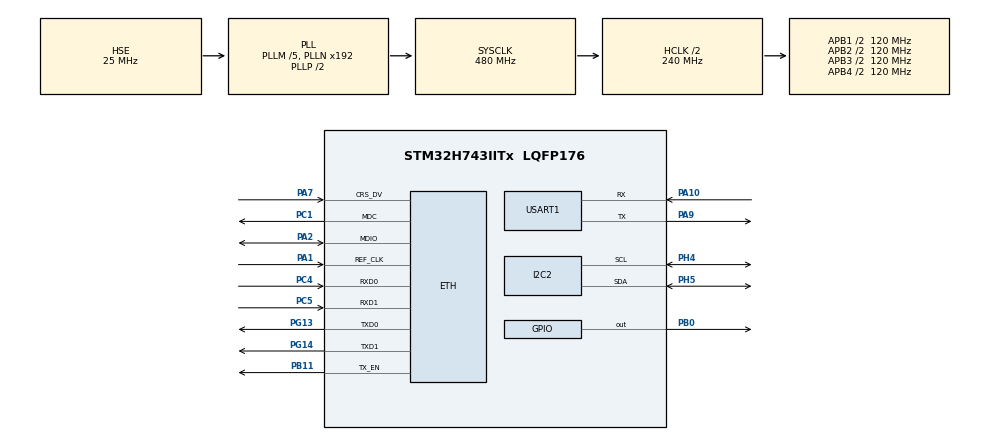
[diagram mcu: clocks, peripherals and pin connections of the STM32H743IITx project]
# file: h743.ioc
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CORTEX_M7.CPU_DCache=Enabled
ETH.MACAddr=00\:80\:E1\:00\:00\:05
ETH.MediaInterface=HAL_ETH_RMII_MODE
FREERTOS.HEAP_NUMBER=4
FREERTOS.Tasks01=defaultTask,24,8192,StartDefaultTask,Default,NULL,Dynamic,NULL,NULL;fortetask,8,2048,forte_thread,Default,NULL,Dynamic,NULL,NULL
FREERTOS.configCHECK_FOR_STACK_OVERFLOW=1
FREERTOS.configTIMER_QUEUE_LENGTH=32
FREERTOS.configTIMER_TASK_STACK_DEPTH=2048
FREERTOS.configTOTAL_HEAP_SIZE=69632
FREERTOS.configUSE_MALLOC_FAILED_HOOK=1
I2C2.Timing=0x307075B1
LWIP.BSP.number=1
LWIP.DHCP_DEBUG=LWIP_DBG_ON
LWIP.GATEWAY_ADDRESS=192.168.003.001
LWIP.IP_ADDRESS=192.168.003.007
LWIP.LWIP_DHCP=1
LWIP.LWIP_DNS=1
LWIP.NETIF_DEBUG=LWIP_DBG_ON
LWIP.NETMASK_ADDRESS=255.255.255.000
LWIP.Version=v2.1.2_Cube
LWIP0.BSP.STBoard=false
LWIP0.BSP.api=BSP_COMPONENT_DRIVER
LWIP0.BSP.component=LAN8742
LWIP0.BSP.i2caddr=0
LWIP0.BSP.instance=LAN8742
LWIP0.BSP.name=Driver_PHY
LWIP0.BSP.solution=LAN8742
Mcu.Family=STM32H7
Mcu.Name=STM32H743IITx
Mcu.Package=LQFP176
NVIC.ETH_IRQn=true\:5\:0\:false\:false\:true\:true\:true\:true
NVIC.PriorityGroup=NVIC_PRIORITYGROUP_4
NVIC.TIM1_UP_IRQn=true\:0\:0\:false\:false\:true\:false\:false\:true
NVIC.TimeBase=TIM1_UP_IRQn
NVIC.TimeBaseIP=TIM1
PA1.GPIO_Speed=GPIO_SPEED_FREQ_VERY_HIGH
PA1.Mode=RMII
PA1.Signal=ETH_REF_CLK
PA10.Mode=Asynchronous
PA10.Signal=USART1_RX
PA13\ (JTMS/SWDIO).Mode=Serial_Wire
PA13\ (JTMS/SWDIO).Signal=DEBUG_JTMS-SWDIO
PA14\ (JTCK/SWCLK).Mode=Serial_Wire
PA14\ (JTCK/SWCLK).Signal=DEBUG_JTCK-SWCLK
PA2.GPIO_Speed=GPIO_SPEED_FREQ_VERY_HIGH
PA2.Mode=RMII
PA2.Signal=ETH_MDIO
PA7.GPIO_Speed=GPIO_SPEED_FREQ_VERY_HIGH
PA7.Mode=RMII
PA7.Signal=ETH_CRS_DV
PA9.Mode=Asynchronous
PA9.Signal=USART1_TX
PB0.GPIO_PuPd=GPIO_PULLUP
PB0.GPIO_Speed=GPIO_SPEED_FREQ_HIGH
PB0.PinState=GPIO_PIN_SET
PB0.Signal=GPIO_Output
PB11.GPIO_Speed=GPIO_SPEED_FREQ_VERY_HIGH
PB11.Mode=RMII
PB11.Signal=ETH_TX_EN
PC1.GPIO_Speed=GPIO_SPEED_FREQ_VERY_HIGH
PC1.Mode=RMII
PC1.Signal=ETH_MDC
PC14-OSC32_IN\ (OSC32_IN).Mode=LSE-External-Oscillator
PC14-OSC32_IN\ (OSC32_IN).Signal=RCC_OSC32_IN
PC15-OSC32_OUT\ (OSC32_OUT).Mode=LSE-External-Oscillator
PC15-OSC32_OUT\ (OSC32_OUT).Signal=RCC_OSC32_OUT
PC4.GPIO_Speed=GPIO_SPEED_FREQ_VERY_HIGH
PC4.Mode=RMII
PC4.Signal=ETH_RXD0
PC5.GPIO_Speed=GPIO_SPEED_FREQ_VERY_HIGH
PC5.Mode=RMII
PC5.Signal=ETH_RXD1
PG13.GPIO_Speed=GPIO_SPEED_FREQ_VERY_HIGH
PG13.Mode=RMII
PG13.Signal=ETH_TXD0
PG14.GPIO_Speed=GPIO_SPEED_FREQ_VERY_HIGH
PG14.Mode=RMII
PG14.Signal=ETH_TXD1
PH0-OSC_IN\ (PH0).Mode=HSE-External-Oscillator
PH0-OSC_IN\ (PH0).Signal=RCC_OSC_IN
PH1-OSC_OUT\ (PH1).Mode=HSE-External-Oscillator
PH1-OSC_OUT\ (PH1).Signal=RCC_OSC_OUT
PH4.Mode=I2C
PH4.Signal=I2C2_SCL
PH5.Mode=I2C
PH5.Signal=I2C2_SDA
ProjectManager.HeapSize=0x2000
ProjectManager.StackSize=0x4000
ProjectManager.TargetToolchain=TrueSTUDIO
RCC.ADCFreq_Value=240000000
RCC.APB1Freq_Value=120000000
RCC.APB2Freq_Value=120000000
RCC.APB3Freq_Value=120000000
RCC.APB4Freq_Value=120000000
RCC.CortexFreq_Value=480000000
RCC.D1PPRE=RCC_APB3_DIV2
RCC.D2PPRE1=RCC_APB1_DIV2
RCC.D2PPRE2=RCC_APB2_DIV2
RCC.D3PPRE=RCC_APB4_DIV2
RCC.DIVM1=5
RCC.DIVM2=5
RCC.DIVM3=5
RCC.DIVN1=192
RCC.DIVN2=96
RCC.DIVN3=192
RCC.HCLKFreq_Value=240000000
RCC.HPRE=RCC_HCLK_DIV2
RCC.PLLSourceVirtual=RCC_PLLSOURCE_HSE
RCC.SYSCLKFreq_VALUE=480000000
RCC.SYSCLKSource=RCC_SYSCLKSOURCE_PLLCLK
RCC.USBFreq_Value=480000000
USART1.VirtualMode-Asynchronous=VM_ASYNC
VP_FREERTOS_VS_CMSIS_V2.Mode=CMSIS_V2
VP_LWIP_VS_Enabled.Mode=Enabled
VP_SYS_VS_tim1.Mode=TIM1
board=custom

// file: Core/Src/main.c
/* USER CODE BEGIN Header */
/**
  ******************************************************************************
  * @file           : main.c
  * @brief          : Main program body
  ******************************************************************************
  * @attention
  *
  * <h2><center>&copy; Copyright (c) 2021 STMicroelectronics.
  * All rights reserved.</center></h2>
  *
  * This software component is licensed by ST under Ultimate Liberty license
  * SLA0044, the "License"; You may not use this file except in compliance with
  * the License. You may obtain a copy of the License at:
  *                             www.st.com/SLA0044
  *
  ******************************************************************************
  */
/* USER CODE END Header */
#include "main.h"
#include "cmsis_os.h"
#include "lwip.h"

/* USER CODE BEGIN Includes */
#include "pcf8574.h"
#include "forte_Init.h"
/* USER CODE END Includes */

I2C_HandleTypeDef hi2c2;

UART_HandleTypeDef huart1;

/* Definitions for defaultTask */
osThreadId_t defaultTaskHandle;
const osThreadAttr_t defaultTask_attributes = {
  .name = "defaultTask",
  .stack_size = 8192 * 4,
  .priority = (osPriority_t) osPriorityNormal,
};
/* Definitions for fortetask */
osThreadId_t fortetaskHandle;
const osThreadAttr_t fortetask_attributes = {
  .name = "fortetask",
  .stack_size = 2048 * 4,
  .priority = (osPriority_t) osPriorityLow,
};

void SystemClock_Config(void);
static void MX_GPIO_Init(void);
static void MX_I2C2_Init(void);
static void MX_USART1_UART_Init(void);
void StartDefaultTask(void *argument);
void forte_thread(void *argument);

/* USER CODE BEGIN PFP */

static void MPU_Config(void);

/* USER CODE END PFP */

/* USER CODE BEGIN 0 */
#ifdef __GNUC__
#define PUTCHAR_PROTOTYPE int __io_putchar(int ch)
#else
#define PUTCHAR_PROTOTYPE int fputc(int ch, FILE *f)
#endif
PUTCHAR_PROTOTYPE
{
    //HAL_UART_Transmit(&huart1 , (uint8_t *)&ch, 1 , 0xffff);
	while ((USART1->ISR & 0X40) == 0);
    USART1->TDR = (uint8_t) ch;
    return ch;
}

/* USER CODE END 0 */

int main(void)
{
  /* USER CODE BEGIN 1 */
  MPU_Config();

  /* USER CODE END 1 */

  /* Enable D-Cache---------------------------------------------------------*/
  SCB_EnableDCache();

  /* MCU Configuration--------------------------------------------------------*/

  /* Reset of all peripherals, Initializes the Flash interface and the Systick. */
  HAL_Init();

  /* Configure the system clock */
  SystemClock_Config();

  /* Initialize all configured peripherals */
  MX_GPIO_Init();
  MX_I2C2_Init();
  MX_USART1_UART_Init();
  /* USER CODE BEGIN 2 */
  PCF8574_Init();
  printf("ETH test\r\n");

  /* USER CODE END 2 */

  /* Init scheduler */
  osKernelInitialize();

  /* Create the thread(s) */
  /* creation of defaultTask */
  defaultTaskHandle = osThreadNew(StartDefaultTask, NULL, &defaultTask_attributes);

  /* creation of fortetask */
  fortetaskHandle = osThreadNew(forte_thread, NULL, &fortetask_attributes);

  /* Start scheduler */
  osKernelStart();

  /* We should never get here as control is now taken by the scheduler */
  /* Infinite loop */
  while (1)
  {

  }
}

void SystemClock_Config(void)
{
  RCC_OscInitTypeDef RCC_OscInitStruct = {0};
  RCC_ClkInitTypeDef RCC_ClkInitStruct = {0};

  /** Supply configuration update enable
  */
  HAL_PWREx_ConfigSupply(PWR_LDO_SUPPLY);
  /** Configure the main internal regulator output voltage
  */
  __HAL_PWR_VOLTAGESCALING_CONFIG(PWR_REGULATOR_VOLTAGE_SCALE0);

  while(!__HAL_PWR_GET_FLAG(PWR_FLAG_VOSRDY)) {}
  /** Initializes the RCC Oscillators according to the specified parameters
  * in the RCC_OscInitTypeDef structure.
  */
  RCC_OscInitStruct.OscillatorType = RCC_OSCILLATORTYPE_HSE;
  RCC_OscInitStruct.HSEState = RCC_HSE_ON;
  RCC_OscInitStruct.PLL.PLLState = RCC_PLL_ON;
  RCC_OscInitStruct.PLL.PLLSource = RCC_PLLSOURCE_HSE;
  RCC_OscInitStruct.PLL.PLLM = 5;
  RCC_OscInitStruct.PLL.PLLN = 192;
  RCC_OscInitStruct.PLL.PLLP = 2;
  RCC_OscInitStruct.PLL.PLLQ = 2;
  RCC_OscInitStruct.PLL.PLLR = 2;
  RCC_OscInitStruct.PLL.PLLRGE = RCC_PLL1VCIRANGE_2;
  RCC_OscInitStruct.PLL.PLLVCOSEL = RCC_PLL1VCOWIDE;
  RCC_OscInitStruct.PLL.PLLFRACN = 0;
  if (HAL_RCC_OscConfig(&RCC_OscInitStruct) != HAL_OK)
  {
    Error_Handler();
  }
  /** Initializes the CPU, AHB and APB buses clocks
  */
  RCC_ClkInitStruct.ClockType = RCC_CLOCKTYPE_HCLK|RCC_CLOCKTYPE_SYSCLK
                              |RCC_CLOCKTYPE_PCLK1|RCC_CLOCKTYPE_PCLK2
                              |RCC_CLOCKTYPE_D3PCLK1|RCC_CLOCKTYPE_D1PCLK1;
  RCC_ClkInitStruct.SYSCLKSource = RCC_SYSCLKSOURCE_PLLCLK;
  RCC_ClkInitStruct.SYSCLKDivider = RCC_SYSCLK_DIV1;
  RCC_ClkInitStruct.AHBCLKDivider = RCC_HCLK_DIV2;
  RCC_ClkInitStruct.APB3CLKDivider = RCC_APB3_DIV2;
  RCC_ClkInitStruct.APB1CLKDivider = RCC_APB1_DIV2;
  RCC_ClkInitStruct.APB2CLKDivider = RCC_APB2_DIV2;
  RCC_ClkInitStruct.APB4CLKDivider = RCC_APB4_DIV2;

  if (HAL_RCC_ClockConfig(&RCC_ClkInitStruct, FLASH_LATENCY_4) != HAL_OK)
  {
    Error_Handler();
  }
}

static void MX_I2C2_Init(void)
{

  hi2c2.Instance = I2C2;
  hi2c2.Init.Timing = 0x307075B1;
  hi2c2.Init.OwnAddress1 = 0;
  hi2c2.Init.AddressingMode = I2C_ADDRESSINGMODE_7BIT;
  hi2c2.Init.DualAddressMode = I2C_DUALADDRESS_DISABLE;
  hi2c2.Init.OwnAddress2 = 0;
  hi2c2.Init.OwnAddress2Masks = I2C_OA2_NOMASK;
  hi2c2.Init.GeneralCallMode = I2C_GENERALCALL_DISABLE;
  hi2c2.Init.NoStretchMode = I2C_NOSTRETCH_DISABLE;
  if (HAL_I2C_Init(&hi2c2) != HAL_OK)
  {
    Error_Handler();
  }
  /** Configure Analogue filter
  */
  if (HAL_I2CEx_ConfigAnalogFilter(&hi2c2, I2C_ANALOGFILTER_ENABLE) != HAL_OK)
  {
    Error_Handler();
  }
  /** Configure Digital filter
  */
  if (HAL_I2CEx_ConfigDigitalFilter(&hi2c2, 0) != HAL_OK)
  {
    Error_Handler();
  }

}

static void MX_USART1_UART_Init(void)
{

  huart1.Instance = USART1;
  huart1.Init.BaudRate = 115200;
  huart1.Init.WordLength = UART_WORDLENGTH_8B;
  huart1.Init.StopBits = UART_STOPBITS_1;
  huart1.Init.Parity = UART_PARITY_NONE;
  huart1.Init.Mode = UART_MODE_TX_RX;
  huart1.Init.HwFlowCtl = UART_HWCONTROL_NONE;
  huart1.Init.OverSampling = UART_OVERSAMPLING_16;
  huart1.Init.OneBitSampling = UART_ONE_BIT_SAMPLE_DISABLE;
  huart1.Init.ClockPrescaler = UART_PRESCALER_DIV1;
  huart1.AdvancedInit.AdvFeatureInit = UART_ADVFEATURE_NO_INIT;
  if (HAL_UART_Init(&huart1) != HAL_OK)
  {
    Error_Handler();
  }
  if (HAL_UARTEx_SetTxFifoThreshold(&huart1, UART_TXFIFO_THRESHOLD_1_8) != HAL_OK)
  {
    Error_Handler();
  }
  if (HAL_UARTEx_SetRxFifoThreshold(&huart1, UART_RXFIFO_THRESHOLD_1_8) != HAL_OK)
  {
    Error_Handler();
  }
  if (HAL_UARTEx_DisableFifoMode(&huart1) != HAL_OK)
  {
    Error_Handler();
  }

}

static void MX_GPIO_Init(void)
{
  GPIO_InitTypeDef GPIO_InitStruct = {0};

  /* GPIO Ports Clock Enable */
  __HAL_RCC_GPIOC_CLK_ENABLE();
  __HAL_RCC_GPIOH_CLK_ENABLE();
  __HAL_RCC_GPIOA_CLK_ENABLE();
  __HAL_RCC_GPIOB_CLK_ENABLE();
  __HAL_RCC_GPIOG_CLK_ENABLE();

  /*Configure GPIO pin Output Level */
  HAL_GPIO_WritePin(GPIOB, GPIO_PIN_0, GPIO_PIN_SET);

  /*Configure GPIO pin : PB0 */
  GPIO_InitStruct.Pin = GPIO_PIN_0;
  GPIO_InitStruct.Mode = GPIO_MODE_OUTPUT_PP;
  GPIO_InitStruct.Pull = GPIO_PULLUP;
  GPIO_InitStruct.Speed = GPIO_SPEED_FREQ_HIGH;
  HAL_GPIO_Init(GPIOB, &GPIO_InitStruct);

}

/* USER CODE BEGIN 4 */
/**
  * @brief  Configure the MPU attributes
  * @param  None
  * @retval None
  */
static void MPU_Config(void)
{
  MPU_Region_InitTypeDef MPU_InitStruct;

  /* Disable the MPU */
  HAL_MPU_Disable();

  /* Configure the MPU attributes as Device not cacheable
     for ETH DMA descriptors */
  MPU_InitStruct.Enable = MPU_REGION_ENABLE;
  MPU_InitStruct.BaseAddress = 0x30040000;
  MPU_InitStruct.Size = MPU_REGION_SIZE_256B;
  MPU_InitStruct.AccessPermission = MPU_REGION_FULL_ACCESS;
  MPU_InitStruct.IsBufferable = MPU_ACCESS_BUFFERABLE;
  MPU_InitStruct.IsCacheable = MPU_ACCESS_NOT_CACHEABLE;
  MPU_InitStruct.IsShareable = MPU_ACCESS_NOT_SHAREABLE;
  MPU_InitStruct.Number = MPU_REGION_NUMBER0;
  MPU_InitStruct.TypeExtField = MPU_TEX_LEVEL0;
  MPU_InitStruct.SubRegionDisable = 0x00;
  MPU_InitStruct.DisableExec = MPU_INSTRUCTION_ACCESS_ENABLE;

  HAL_MPU_ConfigRegion(&MPU_InitStruct);

  /* Configure the MPU attributes as Cacheable write through
     for LwIP RAM heap which contains the Tx buffers */
  MPU_InitStruct.Enable = MPU_REGION_ENABLE;
  MPU_InitStruct.BaseAddress = 0x30044000;
  MPU_InitStruct.Size = MPU_REGION_SIZE_16KB;
  MPU_InitStruct.AccessPermission = MPU_REGION_FULL_ACCESS;
  MPU_InitStruct.IsBufferable = MPU_ACCESS_NOT_BUFFERABLE;
  MPU_InitStruct.IsCacheable = MPU_ACCESS_CACHEABLE;
  MPU_InitStruct.IsShareable = MPU_ACCESS_NOT_SHAREABLE;
  MPU_InitStruct.Number = MPU_REGION_NUMBER1;
  MPU_InitStruct.TypeExtField = MPU_TEX_LEVEL0;
  MPU_InitStruct.SubRegionDisable = 0x00;
  MPU_InitStruct.DisableExec = MPU_INSTRUCTION_ACCESS_ENABLE;

  HAL_MPU_ConfigRegion(&MPU_InitStruct);

  /* Enable the MPU */
  HAL_MPU_Enable(MPU_PRIVILEGED_DEFAULT);
}

/* USER CODE END 4 */

void StartDefaultTask(void *argument)
{
  /* init code for LWIP */
  MX_LWIP_Init();
  for(;;)
  {
    osDelay(1);
  }
}

void forte_thread(void *argument)
{
  /* USER CODE BEGIN forte_thread */
  forteGlobalInitialize();
  TForteInstance forteInstance = 0;
  int resultForte = forteStartInstanceGeneric(0, 0, &forteInstance);
  if(FORTE_OK == resultForte){
	  forteJoinInstance(forteInstance);
  }else{
	  printf("Error %d: Couldn't start forte\n", resultForte);
  }
  forteGlobalDeinitialize();
  vTaskDelete(NULL);
  /* Infinite loop */
  for(;;)
  {
    osDelay(1);
  }
  /* USER CODE END forte_thread */
}

 /**
  * @brief  Period elapsed callback in non blocking mode
  * @note   This function is called  when TIM1 interrupt took place, inside
  * HAL_TIM_IRQHandler(). It makes a direct call to HAL_IncTick() to increment
  * a global variable "uwTick" used as application time base.
  * @param  htim : TIM handle
  * @retval None
  */
void HAL_TIM_PeriodElapsedCallback(TIM_HandleTypeDef *htim)
{
  if (htim->Instance == TIM1) {
    HAL_IncTick();
  }
}

void Error_Handler(void)
{
  __disable_irq();
  while (1)
  {
  }
}

/************************ (C) COPYRIGHT STMicroelectronics *****END OF FILE****/

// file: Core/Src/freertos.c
/* USER CODE BEGIN Header */
/**
  ******************************************************************************
  * File Name          : freertos.c
  * Description        : Code for freertos applications
  ******************************************************************************
  * @attention
  *
  * <h2><center>&copy; Copyright (c) 2021 STMicroelectronics.
  * All rights reserved.</center></h2>
  *
  * This software component is licensed by ST under Ultimate Liberty license
  * SLA0044, the "License"; You may not use this file except in compliance with
  * the License. You may obtain a copy of the License at:
  *                             www.st.com/SLA0044
  *
  ******************************************************************************
  */
/* USER CODE END Header */

#include "FreeRTOS.h"
#include "task.h"
#include "main.h"

/* Hook prototypes */
void vApplicationStackOverflowHook(xTaskHandle xTask, signed char *pcTaskName);
void vApplicationMallocFailedHook(void);

/* USER CODE BEGIN 4 */
void vApplicationStackOverflowHook(xTaskHandle xTask, signed char *pcTaskName)
{
   /* Run time stack overflow checking is performed if
   configCHECK_FOR_STACK_OVERFLOW is defined to 1 or 2. This hook function is
   called if a stack overflow is detected. */
	for(;;){
		vTaskDelay(pdMS_TO_TICKS(1000));
	}
}
/* USER CODE END 4 */

/* USER CODE BEGIN 5 */
void vApplicationMallocFailedHook(void)
{
   /* vApplicationMallocFailedHook() will only be called if
   configUSE_MALLOC_FAILED_HOOK is set to 1 in FreeRTOSConfig.h. It is a hook
   function that will get called if a call to pvPortMalloc() fails.
   pvPortMalloc() is called internally by the kernel whenever a task, queue,
   timer or semaphore is created. It is also called by various parts of the
   demo application. If heap_1.c or heap_2.c are used, then the size of the
   heap available to pvPortMalloc() is defined by configTOTAL_HEAP_SIZE in
   FreeRTOSConfig.h, and the xPortGetFreeHeapSize() API function can be used
   to query the size of free heap space that remains (although it does not
   provide information on how the remaining heap might be fragmented). */
	for(;;){
		vTaskDelay(pdMS_TO_TICKS(1000));
	}
}
/* USER CODE END 5 */

/************************ (C) COPYRIGHT STMicroelectronics *****END OF FILE****/
